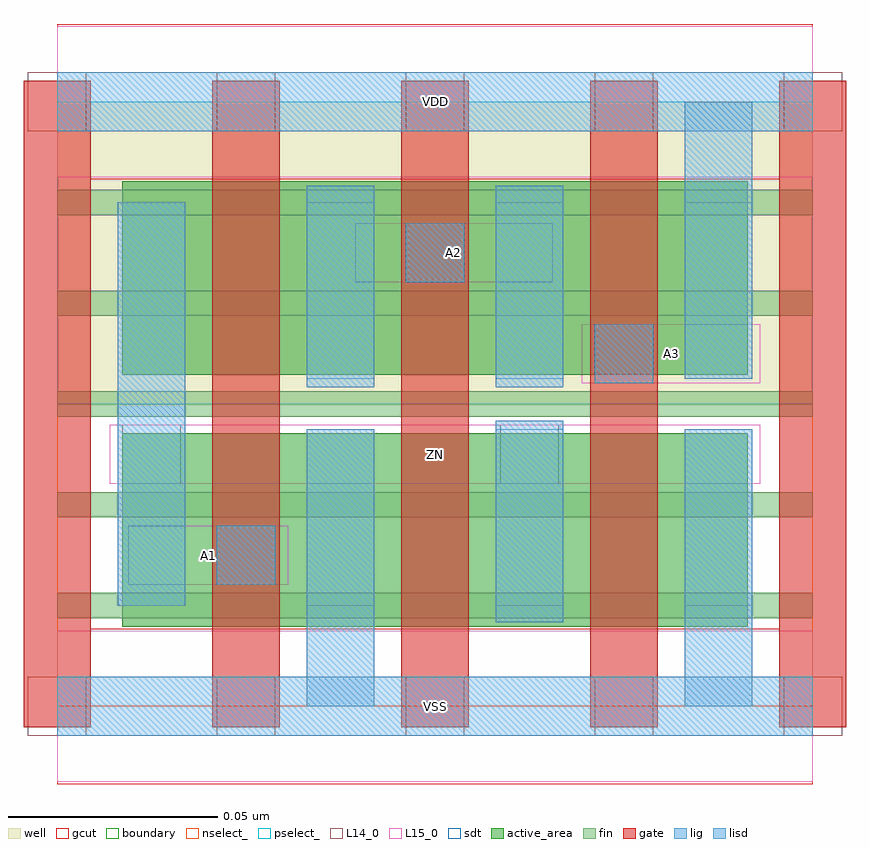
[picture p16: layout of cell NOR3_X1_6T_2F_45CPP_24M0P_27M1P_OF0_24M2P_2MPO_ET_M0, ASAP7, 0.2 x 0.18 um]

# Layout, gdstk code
import gdstk
lib = gdstk.Library(unit=1e-6, precision=2.5e-10)
def R(c, l, rs):  # rectangles x0, y0, x1, y1
    for r in rs: c.add(gdstk.rectangle(r[:2], r[2:], *l))
def A(c, l, x, y, w, h, nx, ny, dx, dy):  # array of equal rectangles
    R(c, l, [(x+i*dx, y+j*dy, x+i*dx+w, y+j*dy+h) for i in range(nx) for j in range(ny)])
well = (1, 0)
fin = (2, 0)
gate = (7, 0)
gcut = (10, 0)
active_area = (11, 0)
nselect_ = (12, 0)
pselect_ = (13, 0)
L14_0 = (14, 0)
L15_0 = (15, 0)
lig = (16, 0)
lisd = (17, 0)
sdt = (88, 0)
boundary = (100, 0)

nor3_x1_6t_2f_45cpp_24m0 = lib.new_cell('NOR3_X1_6T_2F_45CPP_24M0P_27M1P_OF0_24M2P_2MPO_ET_M0')
R(nor3_x1_6t_2f_45cpp_24m0, well, [(0,0.072,0.18,0.144)])
A(nor3_x1_6t_2f_45cpp_24m0, fin, 0, 0.021, 0.18, 0.006, 1, 5, 0, 0.024)
A(nor3_x1_6t_2f_45cpp_24m0, gate, -0.008, -0.005, 0.016, 0.154, 5, 1, 0.045, 0)
R(nor3_x1_6t_2f_45cpp_24m0, gcut, [(0,-0.0185,0.18,0.0185), (-0.008,-0.005,0.008,0.149), (0.172,-0.005,0.188,0.149), (0,0.1255,0.18,0.1625)])
A(nor3_x1_6t_2f_45cpp_24m0, active_area, 0.0155, 0.019, 0.059, 0.046, 3, 2, 0.045, 0.06)
R(nor3_x1_6t_2f_45cpp_24m0, nselect_, [(0,0,0.18,0.072)])
R(nor3_x1_6t_2f_45cpp_24m0, pselect_, [(0,0.072,0.18,0.144)])
A(nor3_x1_6t_2f_45cpp_24m0, L14_0, -0.007, -0.007, 0.014, 0.014, 5, 2, 0.045, 0.144)
R(nor3_x1_6t_2f_45cpp_24m0, L14_0, [(0.038,0.029,0.052,0.043), (0.0155,0.053,0.0295,0.067), (0.1055,0.053,0.1195,0.067), (0.128,0.077,0.142,0.091), (0.083,0.101,0.097,0.115)])
R(nor3_x1_6t_2f_45cpp_24m0, L15_0, [(0,-0.018,0.18,0.018), (0.017,0.029,0.055,0.043), (0.0125,0.053,0.1675,0.067), (0.125,0.077,0.1675,0.091), (0.071,0.101,0.118,0.115), (0,0.126,0.18,0.162)])
R(nor3_x1_6t_2f_45cpp_24m0, lig, [(0,-0.007,0.18,0.007), (0.038,0.029,0.052,0.043), (0.128,0.077,0.142,0.091), (0.083,0.101,0.097,0.115), (0,0.137,0.18,0.151)])
R(nor3_x1_6t_2f_45cpp_24m0, lisd, [(0.0595,0,0.0755,0.066), (0.1495,0,0.1655,0.066), (0.1045,0.02,0.1205,0.068), (0.0145,0.024,0.0305,0.12), (0.0595,0.076,0.0755,0.124), (0.1045,0.076,0.1205,0.124), (0.1495,0.078,0.1655,0.144)])
A(nor3_x1_6t_2f_45cpp_24m0, sdt, 0.0595, 0.024, 0.016, 0.042, 3, 2, 0.045, 0.054)
R(nor3_x1_6t_2f_45cpp_24m0, sdt, [(0.0145,0.024,0.0305,0.12)])
R(nor3_x1_6t_2f_45cpp_24m0, boundary, [(0,0,0.18,0.144)])
nor3_x1_6t_2f_45cpp_24m0.add(gdstk.Label('A2', (0.0945,0.108), layer=15, texttype=251))
nor3_x1_6t_2f_45cpp_24m0.add(gdstk.Label('A3', (0.1462,0.084), layer=15, texttype=251))
nor3_x1_6t_2f_45cpp_24m0.add(gdstk.Label('A1', (0.036,0.036), layer=15, texttype=251))
nor3_x1_6t_2f_45cpp_24m0.add(gdstk.Label('ZN', (0.09,0.06), layer=15, texttype=251))
nor3_x1_6t_2f_45cpp_24m0.add(gdstk.Label('VDD', (0.09,0.144), layer=15, texttype=251))
nor3_x1_6t_2f_45cpp_24m0.add(gdstk.Label('VSS', (0.09,0), layer=15, texttype=251))
nor3_x1_6t_2f_45cpp_24m0.add(gdstk.Label('VDD', (0.09,0.144), layer=1, texttype=251))
nor3_x1_6t_2f_45cpp_24m0.add(gdstk.Label('VSS', (0.09,0), layer=3, texttype=251))

lib.write_gds('NOR3_X1_6T_2F_45CPP_24M0P_27M1P_OF0_24M2P_2MPO_ET_M0.gds')
